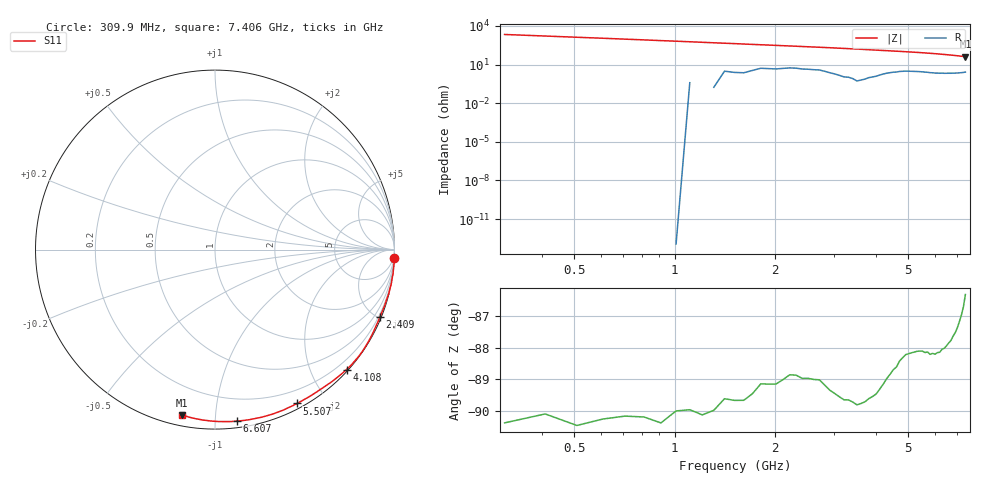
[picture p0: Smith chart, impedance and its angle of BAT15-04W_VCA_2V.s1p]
! Infineon Technologies  Discrete & RF Semiconductors
! BAT15-04W-E6327
! VCA = 2 V
! One-Port S-Parameters
# Hz  S  MA  R  50
!f  S11
!Hz  Mag  Ang
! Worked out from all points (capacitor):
!   72 points, 309.9 MHz to 7.406 GHz, reference 50 ohm
!   read as one part to ground: C = 234 fF near 309.9 MHz
!   lowest |Z| = 41.1 ohm at 7.406 GHz (marker M1)
!   S11 on the Smith chart (normalised r, x): 309.9 MHz: -0, -44; 2.409 GHz: 0.09, -5.07; 4.108 GHz: 0.03, -2.58; 5.507 GHz: 0.05, -1.67; 6.607 GHz: 0.04, -1.14; 7.406 GHz: 0.05, -0.82
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3.0985e8  1 -2.6
9.0955e8  1.001 -7.8
1.2094e9  1 -10.6
1.6092e9  0.9986 -14.4
2.10895e9  0.9943 -19.3
2.30885e9  0.9929 -21.1
2.4088e9  0.9932 -22.3
2.70865e9  0.9927 -25.2
3.0085e9  0.9954 -28.6
3.2084e9  0.9969 -30.9
3.50825e9  0.9981 -34.6
3.90805e9  0.9949 -39.7
4.10795e9  0.9919 -42.3
4.6077e9  0.9819 -48.9
4.8076e9  0.9773 -51.6
5.2074e9  0.9731 -57.2
5.50725e9  0.9714 -61.9
5.6072e9  0.9716 -63.4
5.70715e9  0.971 -65.2
6.007e9  0.971 -70.6
6.2069e9  0.9693 -74.4
6.4068e9  0.9667 -78.5
6.6067e9  0.9635 -82.6
6.8066e9  0.9596 -87.0
7.0065e9  0.9552 -91.5
7.2064e9  0.9488 -96.2
7.30635e9  0.9449 -98.7
7.4063e9  0.939 -101.2
